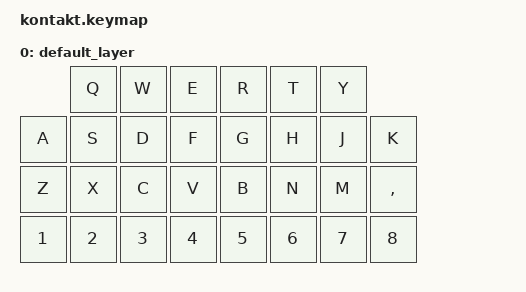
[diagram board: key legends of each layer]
#include <behaviors.dtsi>
#include <dt-bindings/zmk/keys.h>
#include <dt-bindings/zmk/bt.h>

/ {
    keymap {
        compatible = "zmk,keymap";

        default_layer {
            bindings = <
                            &kp Q       &kp W       &kp E       &kp R       &kp T       &kp Y              
                &kp A       &kp S       &kp D       &kp F       &kp G       &kp H       &kp J       &kp K       
                &kp Z       &kp X       &kp C       &kp V       &kp B       &kp N       &kp M       &kp COMMA   
                &kp 1       &kp 2       &kp 3       &kp 4       &kp 5       &kp 6       &kp 7       &kp 8
            >;
        };
    };
};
